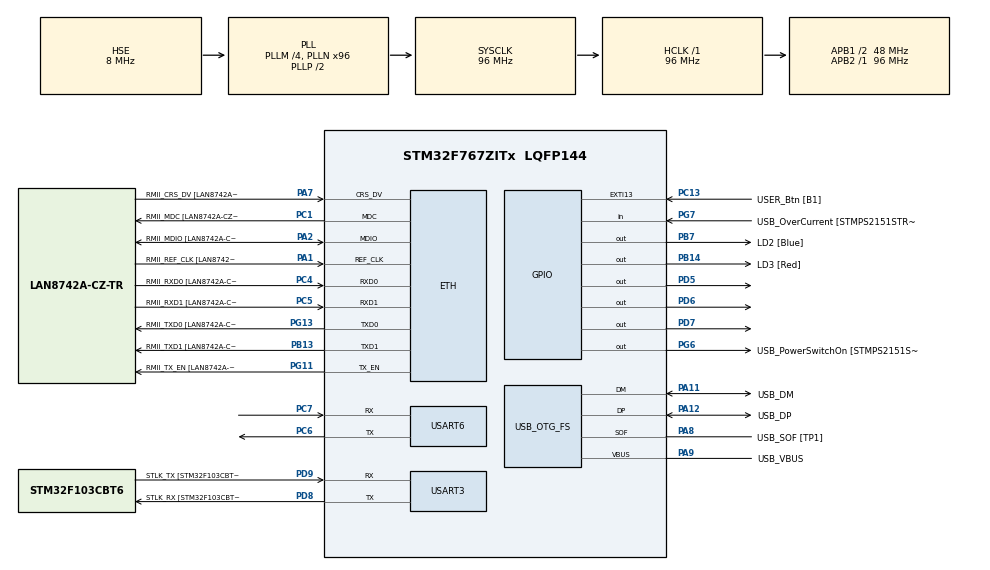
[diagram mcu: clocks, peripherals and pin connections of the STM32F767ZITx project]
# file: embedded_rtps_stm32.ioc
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ETH.MediaInterface=ETH_MEDIA_INTERFACE_RMII
ETH.PHY_Name=LAN8742A_PHY_ADDRESS
ETH.PHY_Value=0
ETH.PhyAddress=0
FREERTOS.Tasks01=defaultTask,24,128,StartDefaultTask,Default,NULL,Dynamic,NULL,NULL
FREERTOS.configUSE_NEWLIB_REENTRANT=1
LWIP.GATEWAY_ADDRESS=192.168.001.001
LWIP.IP_ADDRESS=192.168.001.103
LWIP.LWIP_DHCP=0
LWIP.LWIP_DNS=0
LWIP.LWIP_ICMP=1
LWIP.LWIP_TCP=1
LWIP.NETMASK_ADDRESS=255.255.255.000
LWIP.Version=v2.1.2_Cube
Mcu.Family=STM32F7
Mcu.Name=STM32F767ZITx
Mcu.Package=LQFP144
NVIC.ETH_IRQn=true\:0\:0\:false\:false\:true\:true\:false\:true
NVIC.PriorityGroup=NVIC_PRIORITYGROUP_4
NVIC.TIM1_UP_TIM10_IRQn=true\:0\:0\:false\:false\:true\:false\:false\:true
NVIC.TimeBase=TIM1_UP_TIM10_IRQn
NVIC.TimeBaseIP=TIM1
PA1.GPIO_Label=RMII_REF_CLK [LAN8742A-CZ-TR_REFCLK0]
PA1.Mode=RMII
PA1.Signal=ETH_REF_CLK
PA10.GPIO_Label=USB_ID
PA10.Signal=USB_OTG_FS_ID
PA11.GPIO_Label=USB_DM
PA11.Mode=Device_Only
PA11.Signal=USB_OTG_FS_DM
PA12.GPIO_Label=USB_DP
PA12.Mode=Device_Only
PA12.Signal=USB_OTG_FS_DP
PA13.GPIO_Label=TMS
PA13.Mode=Serial_Wire
PA13.Signal=SYS_JTMS-SWDIO
PA14.GPIO_Label=TCK
PA14.Mode=Serial_Wire
PA14.Signal=SYS_JTCK-SWCLK
PA2.GPIO_Label=RMII_MDIO [LAN8742A-CZ-TR_MDIO]
PA2.Mode=RMII
PA2.Signal=ETH_MDIO
PA7.GPIO_Label=RMII_CRS_DV [LAN8742A-CZ-TR_CRS_DV]
PA7.Mode=RMII
PA7.Signal=ETH_CRS_DV
PA8.GPIO_Label=USB_SOF [TP1]
PA8.Mode=Activate_SOF_FS
PA8.Signal=USB_OTG_FS_SOF
PA9.GPIO_Label=USB_VBUS
PA9.Mode=Activate_VBUS
PA9.Signal=USB_OTG_FS_VBUS
PB13.GPIO_Label=RMII_TXD1 [LAN8742A-CZ-TR_TXD1]
PB13.Mode=RMII
PB13.Signal=ETH_TXD1
PB14.GPIO_Label=LD3 [Red]
PB14.Signal=GPIO_Output
PB3.GPIO_Label=SWO
PB3.Signal=SYS_JTDO-SWO
PB7.GPIO_Label=LD2 [Blue]
PB7.Signal=GPIO_Output
PC1.GPIO_Label=RMII_MDC [LAN8742A-CZ-TR_MDC]
PC1.Mode=RMII
PC1.Signal=ETH_MDC
PC13.GPIO_Label=USER_Btn [B1]
PC13.Signal=GPXTI13
PC14/OSC32_IN.Mode=LSE-External-Oscillator
PC14/OSC32_IN.Signal=RCC_OSC32_IN
PC15/OSC32_OUT.Mode=LSE-External-Oscillator
PC15/OSC32_OUT.Signal=RCC_OSC32_OUT
PC4.GPIO_Label=RMII_RXD0 [LAN8742A-CZ-TR_RXD0]
PC4.Mode=RMII
PC4.Signal=ETH_RXD0
PC5.GPIO_Label=RMII_RXD1 [LAN8742A-CZ-TR_RXD1]
PC5.Mode=RMII
PC5.Signal=ETH_RXD1
PC6.Mode=Asynchronous
PC6.Signal=USART6_TX
PC7.Mode=Asynchronous
PC7.Signal=USART6_RX
PD5.Signal=GPIO_Output
PD6.Signal=GPIO_Output
PD7.Signal=GPIO_Output
PD8.GPIO_Label=STLK_RX [STM32F103CBT6_PA3]
PD8.Mode=Asynchronous
PD8.Signal=USART3_TX
PD9.GPIO_Label=STLK_TX [STM32F103CBT6_PA2]
PD9.Mode=Asynchronous
PD9.Signal=USART3_RX
PG11.GPIO_Label=RMII_TX_EN [LAN8742A-CZ-TR_TXEN]
PG11.Mode=RMII
PG11.Signal=ETH_TX_EN
PG13.GPIO_Label=RMII_TXD0 [LAN8742A-CZ-TR_TXD0]
PG13.Mode=RMII
PG13.Signal=ETH_TXD0
PG6.GPIO_Label=USB_PowerSwitchOn [STMPS2151STR_EN]
PG6.Signal=GPIO_Output
PG7.GPIO_Label=USB_OverCurrent [STMPS2151STR_FAULT]
PG7.Signal=GPIO_Input
PH0/OSC_IN.GPIO_Label=MCO [STM32F103CBT6_PA8]
PH0/OSC_IN.Mode=HSE-External-Clock-Source
PH0/OSC_IN.Signal=RCC_OSC_IN
PH1/OSC_OUT.Mode=HSE-External-Clock-Source
PH1/OSC_OUT.Signal=RCC_OSC_OUT
ProjectManager.HeapSize=0x200
ProjectManager.StackSize=0x400
ProjectManager.TargetToolchain=STM32CubeIDE
RCC.48MHZClocksFreq_Value=24000000
RCC.AHBFreq_Value=96000000
RCC.APB1CLKDivider=RCC_HCLK_DIV2
RCC.APB1Freq_Value=48000000
RCC.APB1TimFreq_Value=96000000
RCC.APB2Freq_Value=96000000
RCC.APB2TimFreq_Value=96000000
RCC.CortexFreq_Value=96000000
RCC.HCLKFreq_Value=96000000
RCC.HSE_VALUE=8000000
RCC.HSI_VALUE=16000000
RCC.PLLM=4
RCC.PLLMUL=RCC_PLL_MUL9
RCC.PLLN=96
RCC.PLLQ=4
RCC.PRESCALERUSB=RCC_USBCLKSOURCE_PLL_DIV1_5
RCC.SYSCLKFreq_VALUE=96000000
RCC.SYSCLKSource=RCC_SYSCLKSOURCE_PLLCLK
RCC.SYSCLKSourceVirtual=RCC_SYSCLKSOURCE_PLLCLK
RCC.USBFreq_Value=48000000
RCC.VCOOutputFreq_Value=192000000
USART3.VirtualMode-Asynchronous=VM_ASYNC
USART6.VirtualMode-Asynchronous=VM_ASYNC
USB_OTG_FS.VirtualMode=Device_Only
VP_FREERTOS_VS_CMSIS_V2.Mode=CMSIS_V2
VP_LWIP_VS_Enabled.Mode=Enabled
VP_SYS_VS_tim1.Mode=TIM1
board=NUCLEO-F767ZI

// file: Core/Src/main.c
/* USER CODE BEGIN Header */
/**
  ******************************************************************************
  * @file           : main.c
  * @brief          : Main program body
  ******************************************************************************
  * @attention
  *
  * Copyright (c) 2022 STMicroelectronics.
  * All rights reserved.
  *
  * This software is licensed under terms that can be found in the LICENSE file
  * in the root directory of this software component.
  * If no LICENSE file comes with this software, it is provided AS-IS.
  *
  ******************************************************************************
  */
/* USER CODE END Header */
#include "main.h"
#include "cmsis_os.h"
#include "lwip.h"
#include "task.h"
#include "FreeRTOS.h"

#include <stdbool.h>

UART_HandleTypeDef huart3;
UART_HandleTypeDef huart6;

PCD_HandleTypeDef hpcd_USB_OTG_FS;

/* Definitions for defaultTask */
osThreadId_t defaultTaskHandle;
const osThreadAttr_t defaultTask_attributes = {
  .name = "defaultTask",
  .stack_size = 5000,
  .priority = (osPriority_t) osPriorityNormal,
};

void SystemClock_Config(void);
static void MX_GPIO_Init(void);
static void MX_USART3_UART_Init(void);
static void MX_USB_OTG_FS_PCD_Init(void);
static void MX_USART6_UART_Init(void);
void StartDefaultTask(void *argument);

/* USER CODE BEGIN PFP */
#define BUFSIZE 4096
char buffer[BUFSIZE];
extern struct netif gnetif;
UART_HandleTypeDef * printf_uart = NULL;
// extern appMain;

/* USER CODE END PFP */

/* USER CODE BEGIN 0 */
int __io_putchar(int ch)
{
  uint8_t c[1];
  c[0] = ch & 0x00FF;
  if (printf_uart != NULL){
     HAL_UART_Transmit(printf_uart, &c[0], 1, 10);
  }
  return ch;
}

/* USER CODE END 0 */

int main(void)
{

  /* Enable D-Cache---------------------------------------------------------*/
  SCB_EnableDCache();

  /* MCU Configuration--------------------------------------------------------*/

  /* Reset of all peripherals, Initializes the Flash interface and the Systick. */
  HAL_Init();

  /* Configure the system clock */
  SystemClock_Config();

  /* Initialize all configured peripherals */
  MX_GPIO_Init();
  MX_USART3_UART_Init();
  MX_USB_OTG_FS_PCD_Init();
  MX_USART6_UART_Init();
  /* USER CODE BEGIN 2 */
  printf_uart = &huart3;
  /* USER CODE END 2 */
  /* Init scheduler */
  osKernelInitialize();

  /* Create the thread(s) */
  /* creation of defaultTask */
  defaultTaskHandle = osThreadNew(StartDefaultTask, NULL, &defaultTask_attributes);

  /* Start scheduler */
  osKernelStart();

  /* We should never get here as control is now taken by the scheduler */
  /* Infinite loop */
  while (1)
  {

  }
}

void SystemClock_Config(void)
{
  RCC_OscInitTypeDef RCC_OscInitStruct = {0};
  RCC_ClkInitTypeDef RCC_ClkInitStruct = {0};

  /** Configure LSE Drive Capability
  */
  HAL_PWR_EnableBkUpAccess();
  /** Configure the main internal regulator output voltage
  */
  __HAL_RCC_PWR_CLK_ENABLE();
  __HAL_PWR_VOLTAGESCALING_CONFIG(PWR_REGULATOR_VOLTAGE_SCALE3);

  /** Initializes the RCC Oscillators according to the specified parameters
  * in the RCC_OscInitTypeDef structure.
  */
  RCC_OscInitStruct.OscillatorType = RCC_OSCILLATORTYPE_HSE;
  RCC_OscInitStruct.HSEState = RCC_HSE_BYPASS;
  RCC_OscInitStruct.PLL.PLLState = RCC_PLL_ON;
  RCC_OscInitStruct.PLL.PLLSource = RCC_PLLSOURCE_HSE;
  RCC_OscInitStruct.PLL.PLLM = 4;
  RCC_OscInitStruct.PLL.PLLN = 96;
  RCC_OscInitStruct.PLL.PLLP = RCC_PLLP_DIV2;
  RCC_OscInitStruct.PLL.PLLQ = 4;
  RCC_OscInitStruct.PLL.PLLR = 2;
  if (HAL_RCC_OscConfig(&RCC_OscInitStruct) != HAL_OK)
  {
    Error_Handler();
  }
  /** Activate the Over-Drive mode
  */
  if (HAL_PWREx_EnableOverDrive() != HAL_OK)
  {
    Error_Handler();
  }

  /** Initializes the CPU, AHB and APB buses clocks
  */
  RCC_ClkInitStruct.ClockType = RCC_CLOCKTYPE_HCLK|RCC_CLOCKTYPE_SYSCLK
                              |RCC_CLOCKTYPE_PCLK1|RCC_CLOCKTYPE_PCLK2;
  RCC_ClkInitStruct.SYSCLKSource = RCC_SYSCLKSOURCE_PLLCLK;
  RCC_ClkInitStruct.AHBCLKDivider = RCC_SYSCLK_DIV1;
  RCC_ClkInitStruct.APB1CLKDivider = RCC_HCLK_DIV2;
  RCC_ClkInitStruct.APB2CLKDivider = RCC_HCLK_DIV1;

  if (HAL_RCC_ClockConfig(&RCC_ClkInitStruct, FLASH_LATENCY_3) != HAL_OK)
  {
    Error_Handler();
  }
}

static void MX_USART3_UART_Init(void)
{

  huart3.Instance = USART3;
  huart3.Init.BaudRate = 115200;
  huart3.Init.WordLength = UART_WORDLENGTH_8B;
  huart3.Init.StopBits = UART_STOPBITS_1;
  huart3.Init.Parity = UART_PARITY_NONE;
  huart3.Init.Mode = UART_MODE_TX_RX;
  huart3.Init.HwFlowCtl = UART_HWCONTROL_NONE;
  huart3.Init.OverSampling = UART_OVERSAMPLING_16;
  huart3.Init.OneBitSampling = UART_ONE_BIT_SAMPLE_DISABLE;
  huart3.AdvancedInit.AdvFeatureInit = UART_ADVFEATURE_NO_INIT;
  if (HAL_UART_Init(&huart3) != HAL_OK)
  {
    Error_Handler();
  }

}

static void MX_USART6_UART_Init(void)
{

  huart6.Instance = USART6;
  huart6.Init.BaudRate = 115200;
  huart6.Init.WordLength = UART_WORDLENGTH_8B;
  huart6.Init.StopBits = UART_STOPBITS_1;
  huart6.Init.Parity = UART_PARITY_NONE;
  huart6.Init.Mode = UART_MODE_TX_RX;
  huart6.Init.HwFlowCtl = UART_HWCONTROL_NONE;
  huart6.Init.OverSampling = UART_OVERSAMPLING_16;
  huart6.Init.OneBitSampling = UART_ONE_BIT_SAMPLE_DISABLE;
  huart6.AdvancedInit.AdvFeatureInit = UART_ADVFEATURE_NO_INIT;
  if (HAL_UART_Init(&huart6) != HAL_OK)
  {
    Error_Handler();
  }

}

static void MX_USB_OTG_FS_PCD_Init(void)
{

  hpcd_USB_OTG_FS.Instance = USB_OTG_FS;
  hpcd_USB_OTG_FS.Init.dev_endpoints = 6;
  hpcd_USB_OTG_FS.Init.speed = PCD_SPEED_FULL;
  hpcd_USB_OTG_FS.Init.dma_enable = DISABLE;
  hpcd_USB_OTG_FS.Init.phy_itface = PCD_PHY_EMBEDDED;
  hpcd_USB_OTG_FS.Init.Sof_enable = ENABLE;
  hpcd_USB_OTG_FS.Init.low_power_enable = DISABLE;
  hpcd_USB_OTG_FS.Init.lpm_enable = DISABLE;
  hpcd_USB_OTG_FS.Init.vbus_sensing_enable = ENABLE;
  hpcd_USB_OTG_FS.Init.use_dedicated_ep1 = DISABLE;
  if (HAL_PCD_Init(&hpcd_USB_OTG_FS) != HAL_OK)
  {
    Error_Handler();
  }

}

static void MX_GPIO_Init(void)
{
  GPIO_InitTypeDef GPIO_InitStruct = {0};

  /* GPIO Ports Clock Enable */
  __HAL_RCC_GPIOC_CLK_ENABLE();
  __HAL_RCC_GPIOH_CLK_ENABLE();
  __HAL_RCC_GPIOA_CLK_ENABLE();
  __HAL_RCC_GPIOB_CLK_ENABLE();
  __HAL_RCC_GPIOD_CLK_ENABLE();
  __HAL_RCC_GPIOG_CLK_ENABLE();

  /*Configure GPIO pin Output Level */
  HAL_GPIO_WritePin(GPIOB, LD3_Pin|LD2_Pin, GPIO_PIN_RESET);

  /*Configure GPIO pin Output Level */
  HAL_GPIO_WritePin(USB_PowerSwitchOn_GPIO_Port, USB_PowerSwitchOn_Pin, GPIO_PIN_RESET);

  /*Configure GPIO pin Output Level */
  HAL_GPIO_WritePin(GPIOD, GPIO_PIN_5|GPIO_PIN_6|GPIO_PIN_7, GPIO_PIN_RESET);

  /*Configure GPIO pin : USER_Btn_Pin */
  GPIO_InitStruct.Pin = USER_Btn_Pin;
  GPIO_InitStruct.Mode = GPIO_MODE_IT_RISING;
  GPIO_InitStruct.Pull = GPIO_NOPULL;
  HAL_GPIO_Init(USER_Btn_GPIO_Port, &GPIO_InitStruct);

  /*Configure GPIO pins : LD3_Pin LD2_Pin */
  GPIO_InitStruct.Pin = LD3_Pin|LD2_Pin;
  GPIO_InitStruct.Mode = GPIO_MODE_OUTPUT_PP;
  GPIO_InitStruct.Pull = GPIO_NOPULL;
  GPIO_InitStruct.Speed = GPIO_SPEED_FREQ_LOW;
  HAL_GPIO_Init(GPIOB, &GPIO_InitStruct);

  /*Configure GPIO pin : USB_PowerSwitchOn_Pin */
  GPIO_InitStruct.Pin = USB_PowerSwitchOn_Pin;
  GPIO_InitStruct.Mode = GPIO_MODE_OUTPUT_PP;
  GPIO_InitStruct.Pull = GPIO_NOPULL;
  GPIO_InitStruct.Speed = GPIO_SPEED_FREQ_LOW;
  HAL_GPIO_Init(USB_PowerSwitchOn_GPIO_Port, &GPIO_InitStruct);

  /*Configure GPIO pin : USB_OverCurrent_Pin */
  GPIO_InitStruct.Pin = USB_OverCurrent_Pin;
  GPIO_InitStruct.Mode = GPIO_MODE_INPUT;
  GPIO_InitStruct.Pull = GPIO_NOPULL;
  HAL_GPIO_Init(USB_OverCurrent_GPIO_Port, &GPIO_InitStruct);

  /*Configure GPIO pins : PD5 PD6 PD7 */
  GPIO_InitStruct.Pin = GPIO_PIN_5|GPIO_PIN_6|GPIO_PIN_7;
  GPIO_InitStruct.Mode = GPIO_MODE_OUTPUT_PP;
  GPIO_InitStruct.Pull = GPIO_NOPULL;
  GPIO_InitStruct.Speed = GPIO_SPEED_FREQ_LOW;
  HAL_GPIO_Init(GPIOD, &GPIO_InitStruct);

}

void StartDefaultTask(void *argument)
{
  /* init code for LWIP */
  MX_LWIP_Init();
  /* USER CODE BEGIN 5 */
  HAL_GPIO_WritePin(USB_PowerSwitchOn_GPIO_Port, USB_PowerSwitchOn_Pin, GPIO_PIN_RESET);
  bool availableNetwork = false;

  printf("Ethernet Initialization\r\n");

  //Waiting for an IP
  printf("Waiting for IP\r\n");
  int retries = 0;
  while(gnetif.ip_addr.addr == 0 && retries < 10){
    osDelay(500);
    retries++;
  };

  availableNetwork = (gnetif.ip_addr.addr != 0);
  if (availableNetwork){
    printf("IP: %s\r\n",ip4addr_ntoa(&gnetif.ip_addr));
  }else{
    printf("Impossible to retrieve an IP\n");
  }

  osDelay(500);
  char ptrTaskList[500];
  vTaskList(ptrTaskList);
  printf("*************main.cpp*************\r\n");
  printf("Task  State   Prio    Stack    Num\r\n");
  printf("**********************************\r\n");
  printf(ptrTaskList);
  printf("**********************************\r\n");

  TaskHandle_t xHandle;
  xHandle = xTaskGetHandle("microROS_app");

  printf("startRTPStest.\n");
  startRTPStest();

  volatile auto size = uxTaskGetStackHighWaterMark(NULL);

  while (1){
    if (eTaskGetState(xHandle) != eSuspended && availableNetwork){
      HAL_GPIO_WritePin(GPIOC, GPIO_PIN_13, GPIO_PIN_RESET);
      osDelay(100);
      HAL_GPIO_WritePin(GPIOC, GPIO_PIN_13, GPIO_PIN_SET);
      osDelay(100);
      HAL_GPIO_WritePin(GPIOC, GPIO_PIN_13, GPIO_PIN_RESET);
      osDelay(150);
      HAL_GPIO_WritePin(GPIOC, GPIO_PIN_13, GPIO_PIN_SET);
      osDelay(500);
    }else{
      HAL_GPIO_WritePin(GPIOC, GPIO_PIN_13, GPIO_PIN_RESET);
      osDelay(1000);
      HAL_GPIO_WritePin(GPIOC, GPIO_PIN_13, GPIO_PIN_SET);
      osDelay(1000);
    }
  }

  /* USER CODE END 5 */
}

void HAL_TIM_PeriodElapsedCallback(TIM_HandleTypeDef *htim)
{
  if (htim->Instance == TIM1) {
    HAL_IncTick();
  }
}

void Error_Handler(void)
{
  __disable_irq();
  while (1)
  {
  }
}
